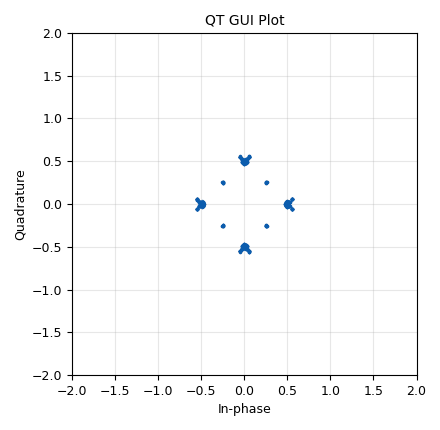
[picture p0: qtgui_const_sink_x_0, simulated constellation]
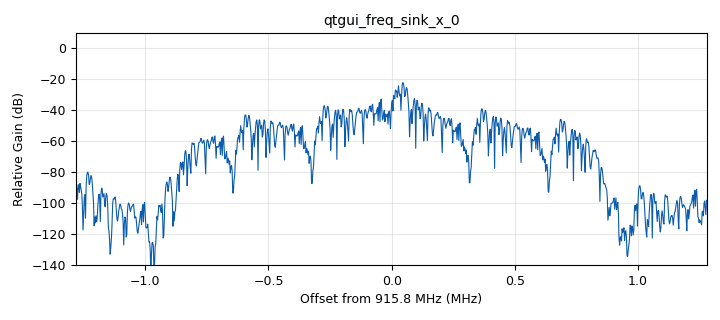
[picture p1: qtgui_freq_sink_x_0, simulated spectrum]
<?xml version='1.0' encoding='utf-8'?>
<?grc format='1' created='3.7.11'?>
<flow_graph>
<block>
<key>options</key>
<param><key>id</key><value>qpsk</value></param>
<param><key>generate_options</key><value>qt_gui</value></param>
</block>
<block>
<key>variable</key>
<param><key>id</key><value>freq</value></param>
<param><key>value</key><value>915.8e6</value></param>
</block>
<block>
<key>variable</key>
<param><key>id</key><value>gain</value></param>
<param><key>value</key><value>40</value></param>
</block>
<block>
<key>variable</key>
<param><key>id</key><value>samp_rate</value></param>
<param><key>value</key><value>320000</value></param>
</block>
<block>
<key>analog_random_source_x</key>
<param><key>id</key><value>analog_random_source_x_0</value></param>
<param><key>max</key><value>2</value></param>
<param><key>min</key><value>0</value></param>
<param><key>num_samps</key><value>int(10e6)</value></param>
<param><key>type</key><value>byte</value></param>
<param><key>repeat</key><value>True</value></param>
</block>
<block>
<key>blocks_multiply_const_vxx</key>
<param><key>id</key><value>blocks_multiply_const_vxx_0</value></param>
<param><key>const</key><value>0.5</value></param>
<param><key>type</key><value>complex</value></param>
</block>
<block>
<key>digital_psk_mod</key>
<param><key>id</key><value>digital_psk_mod_0</value></param>
<param><key>differential</key><value>True</value></param>
<param><key>excess_bw</key><value>0.35</value></param>
<param><key>mod_code</key><value>"gray"</value></param>
<param><key>constellation_points</key><value>4</value></param>
<param><key>samples_per_symbol</key><value>2</value></param>
</block>
<block>
<key>digital_qam_mod</key>
<param><key>id</key><value>digital_qam_mod_0</value></param>
<param><key>differential</key><value>True</value></param>
<param><key>_enabled</key><value>0</value></param>
<param><key>excess_bw</key><value>0.35</value></param>
<param><key>mod_code</key><value>"gray"</value></param>
<param><key>constellation_points</key><value>16</value></param>
<param><key>samples_per_symbol</key><value>2</value></param>
</block>
<block>
<key>qtgui_const_sink_x</key>
<param><key>id</key><value>qtgui_const_sink_x_0</value></param>
<param><key>name</key><value>"QT GUI Plot"</value></param>
<param><key>size</key><value>1024</value></param>
<param><key>type</key><value>complex</value></param>
</block>
<block>
<key>qtgui_freq_sink_x</key>
<param><key>id</key><value>qtgui_freq_sink_x_0</value></param>
<param><key>bw</key><value>samp_rate*8</value></param>
<param><key>fc</key><value>freq</value></param>
<param><key>fftsize</key><value>1024</value></param>
<param><key>showports</key><value>True</value></param>
<param><key>type</key><value>complex</value></param>
<param><key>wintype</key><value>firdes.WIN_BLACKMAN_hARRIS</value></param>
</block>
<block>
<key>uhd_usrp_sink</key>
<param><key>id</key><value>uhd_usrp_sink_0</value></param>
<param><key>ant0</key><value>TX/RX</value></param>
<param><key>bw0</key><value>samp_rate</value></param>
<param><key>center_freq0</key><value>freq</value></param>
<param><key>norm_gain0</key><value>False</value></param>
<param><key>gain0</key><value>gain</value></param>
<param><key>clock_rate</key><value>0.0</value></param>
<param><key>dev_args</key><value>""</value></param>
<param><key>type</key><value>fc32</value></param>
<param><key>samp_rate</key><value>samp_rate</value></param>
<param><key>hide_cmd_port</key><value>False</value></param>
<param><key>hide_lo_controls</key><value>True</value></param>
<param><key>sync</key><value></value></param>
<param><key>len_tag_name</key><value></value></param>
</block>
<connection><source_block_id>analog_random_source_x_0</source_block_id><sink_block_id>digital_psk_mod_0</sink_block_id><source_key>0</source_key><sink_key>0</sink_key></connection>
<connection><source_block_id>analog_random_source_x_0</source_block_id><sink_block_id>digital_qam_mod_0</sink_block_id><source_key>0</source_key><sink_key>0</sink_key></connection>
<connection><source_block_id>blocks_multiply_const_vxx_0</source_block_id><sink_block_id>qtgui_const_sink_x_0</sink_block_id><source_key>0</source_key><sink_key>0</sink_key></connection>
<connection><source_block_id>blocks_multiply_const_vxx_0</source_block_id><sink_block_id>qtgui_freq_sink_x_0</sink_block_id><source_key>0</source_key><sink_key>0</sink_key></connection>
<connection><source_block_id>blocks_multiply_const_vxx_0</source_block_id><sink_block_id>uhd_usrp_sink_0</sink_block_id><source_key>0</source_key><sink_key>0</sink_key></connection>
<connection><source_block_id>digital_psk_mod_0</source_block_id><sink_block_id>blocks_multiply_const_vxx_0</sink_block_id><source_key>0</source_key><sink_key>0</sink_key></connection>
<connection><source_block_id>digital_qam_mod_0</source_block_id><sink_block_id>blocks_multiply_const_vxx_0</sink_block_id><source_key>0</source_key><sink_key>0</sink_key></connection>
</flow_graph>
